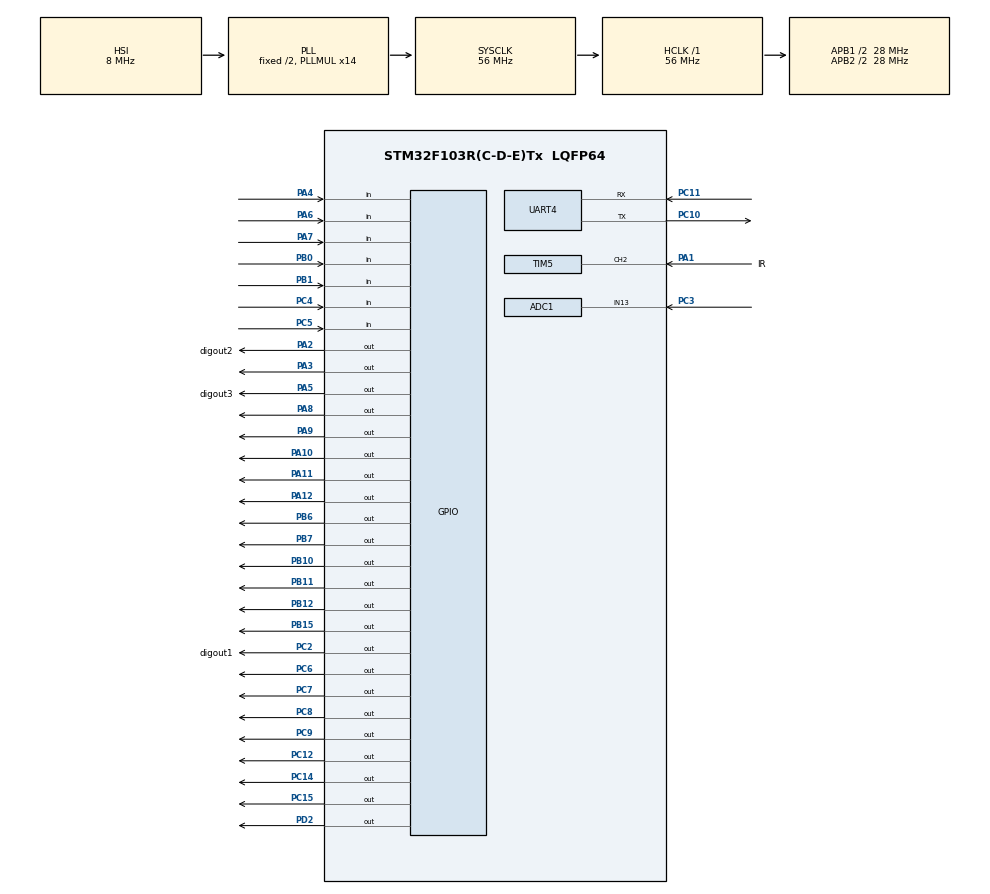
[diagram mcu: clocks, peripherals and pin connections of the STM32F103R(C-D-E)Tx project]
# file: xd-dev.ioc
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ADC1.Channel-6\#ChannelRegularConversion=ADC_CHANNEL_13
ADC1.NbrOfConversion=1
ADC1.NbrOfConversionFlag=1
ADC1.Rank-6\#ChannelRegularConversion=1
ADC1.SamplingTime-6\#ChannelRegularConversion=ADC_SAMPLETIME_1CYCLE_5
ADC1.master=1
FREERTOS.Tasks01=defaultTask,24,128,StartDefaultTask,Default,NULL,Dynamic,NULL,NULL;myTask_Key_Scan,8,128,StartTask02,Default,NULL,Dynamic,NULL,NULL;myTask03,8,128,StartTask03,Default,NULL,Dynamic,NULL,NULL
FREERTOS.Timers01=myTimer01,Callback01,osTimerOnce,Default,NULL,Dynamic,NULL;myTimer02,Callback02,osTimerPeriodic,Default,NULL,Dynamic,NULL
IWDG.Prescaler=IWDG_PRESCALER_256
Mcu.Family=STM32F1
Mcu.Name=STM32F103R(C-D-E)Tx
Mcu.Package=LQFP64
NVIC.ADC1_2_IRQn=true\:7\:0\:true\:false\:true\:true\:true\:true
NVIC.PriorityGroup=NVIC_PRIORITYGROUP_4
NVIC.TIM3_IRQn=true\:6\:0\:true\:false\:true\:true\:true\:true
NVIC.TIM5_IRQn=true\:5\:0\:true\:true\:true\:1\:true\:true\:true
NVIC.TIM7_IRQn=true\:0\:0\:false\:false\:true\:false\:false\:true
NVIC.TimeBase=TIM7_IRQn
NVIC.TimeBaseIP=TIM7
PA1.GPIO_Label=IR
PA1.GPIO_PuPd=GPIO_PULLUP
PA1.Signal=S_TIM5_CH2
PA10.Signal=GPIO_Output
PA11.Signal=GPIO_Output
PA12.Signal=GPIO_Output
PA13.Mode=JTAG_5_pins
PA13.Signal=SYS_JTMS-SWDIO
PA14.Mode=JTAG_5_pins
PA14.Signal=SYS_JTCK-SWCLK
PA15.Mode=JTAG_5_pins
PA15.Signal=SYS_JTDI
PA2.GPIO_Label=digout2
PA2.Signal=GPIO_Output
PA3.Signal=GPIO_Output
PA4.Signal=GPIO_Input
PA5.GPIO_Label=digout3
PA5.GPIO_ModeDefaultOutputPP=GPIO_MODE_OUTPUT_PP
PA5.GPIO_PuPd=GPIO_NOPULL
PA5.PinState=GPIO_PIN_RESET
PA5.Signal=GPIO_Output
PA6.Signal=GPIO_Input
PA7.Signal=GPIO_Input
PA8.Signal=GPIO_Output
PA9.Signal=GPIO_Output
PB0.GPIO_PuPd=GPIO_PULLDOWN
PB0.Signal=GPIO_Input
PB1.GPIO_PuPd=GPIO_PULLUP
PB1.Signal=GPIO_Input
PB10.GPIO_PuPd=GPIO_PULLUP
PB10.Signal=GPIO_Output
PB11.GPIO_PuPd=GPIO_PULLUP
PB11.Signal=GPIO_Output
PB12.GPIO_PuPd=GPIO_PULLUP
PB12.Signal=GPIO_Output
PB15.Signal=GPIO_Output
PB3.Mode=JTAG_5_pins
PB3.Signal=SYS_JTDO-TRACESWO
PB4.Mode=JTAG_5_pins
PB4.Signal=SYS_NJTRST
PB6.Signal=GPIO_Output
PB7.Signal=GPIO_Output
PC10.Mode=Asynchronous
PC10.Signal=UART4_TX
PC11.Mode=Asynchronous
PC11.Signal=UART4_RX
PC12.GPIO_PuPd=GPIO_PULLUP
PC12.PinState=GPIO_PIN_SET
PC12.Signal=GPIO_Output
PC14-OSC32_IN.GPIO_PuPd=GPIO_PULLDOWN
PC14-OSC32_IN.Signal=GPIO_Output
PC15-OSC32_OUT.GPIO_PuPd=GPIO_PULLDOWN
PC15-OSC32_OUT.Signal=GPIO_Output
PC2.GPIO_Label=digout1
PC2.Signal=GPIO_Output
PC3.Signal=SharedAnalog_PC3
PC4.Signal=GPIO_Input
PC5.Signal=GPIO_Input
PC6.Signal=GPIO_Output
PC7.Signal=GPIO_Output
PC8.Signal=GPIO_Output
PC9.Signal=GPIO_Output
PD0-OSC_IN.Mode=HSE-External-Clock-Source
PD0-OSC_IN.Signal=RCC_OSC_IN
PD1-OSC_OUT.Mode=HSE-External-Clock-Source
PD1-OSC_OUT.Signal=RCC_OSC_OUT
PD2.GPIO_PuPd=GPIO_PULLUP
PD2.PinState=GPIO_PIN_SET
PD2.Signal=GPIO_Output
ProjectManager.HeapSize=0x200
ProjectManager.StackSize=0x400
ProjectManager.TargetToolchain=MDK-ARM V5.27
RCC.AHBFreq_Value=56000000
RCC.APB1CLKDivider=RCC_HCLK_DIV2
RCC.APB1Freq_Value=28000000
RCC.APB1TimFreq_Value=56000000
RCC.APB2CLKDivider=RCC_HCLK_DIV2
RCC.APB2Freq_Value=28000000
RCC.APB2TimFreq_Value=56000000
RCC.HCLKFreq_Value=56000000
RCC.PLLMUL=RCC_PLL_MUL14
RCC.SYSCLKFreq_VALUE=56000000
RCC.SYSCLKSource=RCC_SYSCLKSOURCE_PLLCLK
RCC.USBFreq_Value=56000000
SH.S_TIM5_CH2.0=TIM5_CH2,Input_Capture2_from_TI2
SH.SharedAnalog_PC3.0=GPIO_Analog
SH.SharedAnalog_PC3.1=ADC1_IN13,IN13
TIM3.AutoReloadPreload=TIM_AUTORELOAD_PRELOAD_ENABLE
TIM3.CounterMode=TIM_COUNTERMODE_UP
TIM3.Period=1000
TIM3.Prescaler=56000-1
TIM5.AutoReloadPreload=TIM_AUTORELOAD_PRELOAD_ENABLE
TIM5.Channel-Input_Capture2_from_TI2=TIM_CHANNEL_2
TIM5.CounterMode=TIM_COUNTERMODE_UP
TIM5.ICFilter_CH2=4
TIM5.ICPolarity_CH2=TIM_INPUTCHANNELPOLARITY_RISING
TIM5.Period=0xffff
TIM5.Prescaler=112-1
UART4.VirtualMode=Asynchronous
VP_FREERTOS_VS_CMSIS_V2.Mode=CMSIS_V2
VP_IWDG_VS_IWDG.Mode=IWDG_Activate
VP_SYS_VS_tim7.Mode=TIM7
VP_TIM3_VS_ClockSourceINT.Mode=Internal
VP_TIM5_VS_ClockSourceINT.Mode=Internal
board=custom

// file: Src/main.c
/* USER CODE BEGIN Header */
/**
  ******************************************************************************
  * @file           : main.c
  * @brief          : Main program body
  ******************************************************************************
  * @attention
  *
  * <h2><center>&copy; Copyright (c) 2020 STMicroelectronics.
  * All rights reserved.</center></h2>
  *
  * This software component is licensed by ST under BSD 3-Clause license,
  * the "License"; You may not use this file except in compliance with the
  * License. You may obtain a copy of the License at:
  *                        opensource.org/licenses/BSD-3-Clause
  *
  ******************************************************************************
  */
/* USER CODE END Header */

#include "main.h"
#include "cmsis_os.h"

/* USER CODE BEGIN Includes */
#include "stm32f1xx_hal.h"
#include "stm32f1xx_hal_def.h"
#include "stm32f1xx_hal_gpio.h"
#include "stm32f1xx_hal_iwdg.h"
#include "xd_dig_led.h"
#include "xd_tm1650.h"
#include "xd_key.h"
#include "xd_relay.h"
#include "xd_infrared.h"
#include "xd_x9c103.h"
#include "xd_sensor.h"
#include "multi_button.h"
#include "debug_printf.h"
#include <stdio.h>

/* USER CODE END Includes */

ADC_HandleTypeDef hadc1;

IWDG_HandleTypeDef hiwdg;

TIM_HandleTypeDef htim3;
TIM_HandleTypeDef htim5;

UART_HandleTypeDef huart4;

osThreadId_t defaultTaskHandle;
osThreadId_t myTask_Key_ScanHandle;
osThreadId_t myTask03Handle;
osTimerId_t myTimer01Handle;
osTimerId_t myTimer02Handle;
/* USER CODE BEGIN PV */
userOpAttr_t g_config = {
	.o3_set_minute = 0,
	.user_timer_max = 120,
	.tm1650_status = 0,
	.x9c103_gear = 0,
	.power_key_status = 0,
};

uint32_t push_key_value = 0;
uint8_t ir_key = 0;
uint8_t ir_add = 0;
uint8_t debug_count = 0;
/* USER CODE END PV */

void SystemClock_Config(void);
static void MX_GPIO_Init(void);
static void MX_TIM5_Init(void);
static void MX_TIM3_Init(void);
static void MX_IWDG_Init(void);
static void MX_ADC1_Init(void);
static void MX_UART4_Init(void);
void StartDefaultTask(void *argument);
void StartTask02(void *argument);
void StartTask03(void *argument);
void Callback01(void *argument);
void Callback02(void *argument);

static void MX_NVIC_Init(void);

/* USER CODE BEGIN 0 */

void GConfig_Init(void)
{
	g_config.user_timer_max = 720;
	g_config.current_ck_max = CURRENT_P_VALUE;

	//风扇转
	//DEVICE_STOP;
	g_config.current_cmd = DEV_STOP;
	g_config.fan_run_status = DEV_STOP;
	g_config.o3_run_status = DEV_STOP;

	g_config.fan_stop_sec = 30;

	g_config.device_fsm_status = FSM_FAN_STOP_OVER_30S;
	g_config.o3_stop_sec = 30;

	g_config.o3_set_minute = 0;

	//auto mode
	g_config.fan_stop_minute = 0;   //首次上电直接启动
	g_config.o3_run_minute = 0;

	//非调节状态
	g_config.kq_adjust = 0xff;

}

/**
  * @brief NVIC Configuration.
  * @retval None
  */
static void Device_Init(void)
{
	//memset(&g_config, 0, sizeof(g_config));

	/* 检查是否为独立看门狗复位 */
	if (__HAL_RCC_GET_FLAG(RCC_FLAG_IWDGRST) != RESET)
	{
		/* 独立看门狗复位 */
		/*  亮红灯 */
		LED_G_YELLOW_Off();
		LED_H_YELLOW_On();

		LED_I_RED_Off();
		LED_J_RED_On();
		/* 清除标志 */
		__HAL_RCC_CLEAR_RESET_FLAGS();
		/*如果一直不喂狗，会一直复位，加上前面的延时，会看到红灯闪烁
		在1s 时间内喂狗的话，则会持续亮绿灯*/
	}
	else
	{
		/*不是独立看门狗复位(可能为上电复位或者手动按键复位之类的) */
		/* 亮蓝灯 */
		LED_A_BLUE_On();
	}

	//g_config.user_timer_max = 720;
	X9C103_Value_Clear();
	g_config.x9c103_gear = 0;
	X9C103_Gear_Display(g_config.x9c103_gear);

	IR_InfraInit();  //启动TIM4
	I2C_Initializes();
    	XD_Key_init();

	//HAL_TIM_Base_Start_IT(&htim1); //使用定时器的时候调用这个函数启动
	//HAL_TIM_Base_Stop_IT(&htim1);  //停止定时器的时候调用这个函数关闭
	HAL_TIM_Base_Start_IT(&htim3); //使用定时器的时候调用这个函数启动

	//HAL_Delay(200);   //这里加个延时，否则上电不显示

	//关显示
	TM1650_Close_Display();

	//档位灯全灭
	X9C103_Value_Clear();
	X9C103_Gear_Display(0);

	DEVICE_STOP;
	GConfig_Init();

  	osTimerStart(myTimer02Handle, 5);
  	__HAL_IWDG_START(&hiwdg);

}

/* USER CODE END 0 */

int main(void)
{

  /* MCU Configuration--------------------------------------------------------*/

  /* Reset of all peripherals, Initializes the Flash interface and the Systick. */
  HAL_Init();

  /* Configure the system clock */
  SystemClock_Config();

  /* Initialize all configured peripherals */
  MX_GPIO_Init();
  MX_TIM5_Init();
  MX_TIM3_Init();
  MX_IWDG_Init();
  MX_ADC1_Init();
  MX_UART4_Init();

  /* Initialize interrupts */
  MX_NVIC_Init();
  /* USER CODE BEGIN 2 */
  	Device_Init();
	//DEBUG_Printf("hello world\n");
	//printf("hello world\n");
	//UART_Open(UART, 115200);
	//TM1650_Open_Display();
  /* USER CODE END 2 */

  osKernelInitialize();

  /* Create the timer(s) */
  /* definition and creation of myTimer01 */
  const osTimerAttr_t myTimer01_attributes = {
    .name = "myTimer01"
  };
  myTimer01Handle = osTimerNew(Callback01, osTimerOnce, NULL, &myTimer01_attributes);

  /* definition and creation of myTimer02 */
  const osTimerAttr_t myTimer02_attributes = {
    .name = "myTimer02"
  };
  myTimer02Handle = osTimerNew(Callback02, osTimerPeriodic, NULL, &myTimer02_attributes);

  /* USER CODE BEGIN RTOS_TIMERS */
    	Device_Init();

  /* USER CODE END RTOS_TIMERS */

  /* Create the thread(s) */
  /* definition and creation of defaultTask */
  const osThreadAttr_t defaultTask_attributes = {
    .name = "defaultTask",
    .priority = (osPriority_t) osPriorityNormal,
    .stack_size = 128
  };
  defaultTaskHandle = osThreadNew(StartDefaultTask, NULL, &defaultTask_attributes);

  /* definition and creation of myTask_Key_Scan */
  const osThreadAttr_t myTask_Key_Scan_attributes = {
    .name = "myTask_Key_Scan",
    .priority = (osPriority_t) osPriorityLow,
    .stack_size = 128
  };
  myTask_Key_ScanHandle = osThreadNew(StartTask02, NULL, &myTask_Key_Scan_attributes);

  /* definition and creation of myTask03 */
  const osThreadAttr_t myTask03_attributes = {
    .name = "myTask03",
    .priority = (osPriority_t) osPriorityLow,
    .stack_size = 128
  };
  myTask03Handle = osThreadNew(StartTask03, NULL, &myTask03_attributes);

  /* Start scheduler */
  osKernelStart();

  /* We should never get here as control is now taken by the scheduler */

  /* Infinite loop */
  while (1)
  {

  }
}

void SystemClock_Config(void)
{
  RCC_OscInitTypeDef RCC_OscInitStruct = {0};
  RCC_ClkInitTypeDef RCC_ClkInitStruct = {0};
  RCC_PeriphCLKInitTypeDef PeriphClkInit = {0};

  /** Initializes the CPU, AHB and APB busses clocks
  */
  RCC_OscInitStruct.OscillatorType = RCC_OSCILLATORTYPE_HSI|RCC_OSCILLATORTYPE_LSI;
  RCC_OscInitStruct.HSIState = RCC_HSI_ON;
  RCC_OscInitStruct.HSICalibrationValue = RCC_HSICALIBRATION_DEFAULT;
  RCC_OscInitStruct.LSIState = RCC_LSI_ON;
  RCC_OscInitStruct.PLL.PLLState = RCC_PLL_ON;
  RCC_OscInitStruct.PLL.PLLSource = RCC_PLLSOURCE_HSI_DIV2;
  RCC_OscInitStruct.PLL.PLLMUL = RCC_PLL_MUL14;
  if (HAL_RCC_OscConfig(&RCC_OscInitStruct) != HAL_OK)
  {
    Error_Handler();
  }
  /** Initializes the CPU, AHB and APB busses clocks
  */
  RCC_ClkInitStruct.ClockType = RCC_CLOCKTYPE_HCLK|RCC_CLOCKTYPE_SYSCLK
                              |RCC_CLOCKTYPE_PCLK1|RCC_CLOCKTYPE_PCLK2;
  RCC_ClkInitStruct.SYSCLKSource = RCC_SYSCLKSOURCE_PLLCLK;
  RCC_ClkInitStruct.AHBCLKDivider = RCC_SYSCLK_DIV1;
  RCC_ClkInitStruct.APB1CLKDivider = RCC_HCLK_DIV2;
  RCC_ClkInitStruct.APB2CLKDivider = RCC_HCLK_DIV2;

  if (HAL_RCC_ClockConfig(&RCC_ClkInitStruct, FLASH_LATENCY_2) != HAL_OK)
  {
    Error_Handler();
  }
  PeriphClkInit.PeriphClockSelection = RCC_PERIPHCLK_ADC;
  PeriphClkInit.AdcClockSelection = RCC_ADCPCLK2_DIV2;
  if (HAL_RCCEx_PeriphCLKConfig(&PeriphClkInit) != HAL_OK)
  {
    Error_Handler();
  }
}

/**
  * @brief NVIC Configuration.
  * @retval None
  */
static void MX_NVIC_Init(void)
{
  /* TIM5_IRQn interrupt configuration */
  HAL_NVIC_SetPriority(TIM5_IRQn, 5, 0);
  HAL_NVIC_EnableIRQ(TIM5_IRQn);
}

static void MX_ADC1_Init(void)
{

  ADC_ChannelConfTypeDef sConfig = {0};

  /** Common config
  */
  hadc1.Instance = ADC1;
  hadc1.Init.ScanConvMode = ADC_SCAN_DISABLE;
  hadc1.Init.ContinuousConvMode = DISABLE;
  hadc1.Init.DiscontinuousConvMode = DISABLE;
  hadc1.Init.ExternalTrigConv = ADC_SOFTWARE_START;
  hadc1.Init.DataAlign = ADC_DATAALIGN_RIGHT;
  hadc1.Init.NbrOfConversion = 1;
  if (HAL_ADC_Init(&hadc1) != HAL_OK)
  {
    Error_Handler();
  }
  /** Configure Regular Channel
  */
  sConfig.Channel = ADC_CHANNEL_13;
  sConfig.Rank = ADC_REGULAR_RANK_1;
  sConfig.SamplingTime = ADC_SAMPLETIME_1CYCLE_5;
  if (HAL_ADC_ConfigChannel(&hadc1, &sConfig) != HAL_OK)
  {
    Error_Handler();
  }

}

static void MX_IWDG_Init(void)
{

  hiwdg.Instance = IWDG;
  hiwdg.Init.Prescaler = IWDG_PRESCALER_256;
  hiwdg.Init.Reload = 4095;
  if (HAL_IWDG_Init(&hiwdg) != HAL_OK)
  {
    Error_Handler();
  }

}

static void MX_TIM3_Init(void)
{

  TIM_ClockConfigTypeDef sClockSourceConfig = {0};
  TIM_MasterConfigTypeDef sMasterConfig = {0};

  htim3.Instance = TIM3;
  htim3.Init.Prescaler = 56000-1;
  htim3.Init.CounterMode = TIM_COUNTERMODE_UP;
  htim3.Init.Period = 1000;
  htim3.Init.ClockDivision = TIM_CLOCKDIVISION_DIV1;
  htim3.Init.AutoReloadPreload = TIM_AUTORELOAD_PRELOAD_ENABLE;
  if (HAL_TIM_Base_Init(&htim3) != HAL_OK)
  {
    Error_Handler();
  }
  sClockSourceConfig.ClockSource = TIM_CLOCKSOURCE_INTERNAL;
  if (HAL_TIM_ConfigClockSource(&htim3, &sClockSourceConfig) != HAL_OK)
  {
    Error_Handler();
  }
  sMasterConfig.MasterOutputTrigger = TIM_TRGO_RESET;
  sMasterConfig.MasterSlaveMode = TIM_MASTERSLAVEMODE_DISABLE;
  if (HAL_TIMEx_MasterConfigSynchronization(&htim3, &sMasterConfig) != HAL_OK)
  {
    Error_Handler();
  }

}

static void MX_TIM5_Init(void)
{

  TIM_ClockConfigTypeDef sClockSourceConfig = {0};
  TIM_MasterConfigTypeDef sMasterConfig = {0};
  TIM_IC_InitTypeDef sConfigIC = {0};

  htim5.Instance = TIM5;
  htim5.Init.Prescaler = 112-1;
  htim5.Init.CounterMode = TIM_COUNTERMODE_UP;
  htim5.Init.Period = 0xffff;
  htim5.Init.ClockDivision = TIM_CLOCKDIVISION_DIV1;
  htim5.Init.AutoReloadPreload = TIM_AUTORELOAD_PRELOAD_ENABLE;
  if (HAL_TIM_Base_Init(&htim5) != HAL_OK)
  {
    Error_Handler();
  }
  sClockSourceConfig.ClockSource = TIM_CLOCKSOURCE_INTERNAL;
  if (HAL_TIM_ConfigClockSource(&htim5, &sClockSourceConfig) != HAL_OK)
  {
    Error_Handler();
  }
  if (HAL_TIM_IC_Init(&htim5) != HAL_OK)
  {
    Error_Handler();
  }
  sMasterConfig.MasterOutputTrigger = TIM_TRGO_RESET;
  sMasterConfig.MasterSlaveMode = TIM_MASTERSLAVEMODE_DISABLE;
  if (HAL_TIMEx_MasterConfigSynchronization(&htim5, &sMasterConfig) != HAL_OK)
  {
    Error_Handler();
  }
  sConfigIC.ICPolarity = TIM_INPUTCHANNELPOLARITY_RISING;
  sConfigIC.ICSelection = TIM_ICSELECTION_DIRECTTI;
  sConfigIC.ICPrescaler = TIM_ICPSC_DIV1;
  sConfigIC.ICFilter = 4;
  if (HAL_TIM_IC_ConfigChannel(&htim5, &sConfigIC, TIM_CHANNEL_2) != HAL_OK)
  {
    Error_Handler();
  }

}

static void MX_UART4_Init(void)
{

  huart4.Instance = UART4;
  huart4.Init.BaudRate = 115200;
  huart4.Init.WordLength = UART_WORDLENGTH_8B;
  huart4.Init.StopBits = UART_STOPBITS_1;
  huart4.Init.Parity = UART_PARITY_NONE;
  huart4.Init.Mode = UART_MODE_TX_RX;
  huart4.Init.HwFlowCtl = UART_HWCONTROL_NONE;
  huart4.Init.OverSampling = UART_OVERSAMPLING_16;
  if (HAL_UART_Init(&huart4) != HAL_OK)
  {
    Error_Handler();
  }

}

static void MX_GPIO_Init(void)
{
  GPIO_InitTypeDef GPIO_InitStruct = {0};

  /* GPIO Ports Clock Enable */
  __HAL_RCC_GPIOC_CLK_ENABLE();
  __HAL_RCC_GPIOD_CLK_ENABLE();
  __HAL_RCC_GPIOA_CLK_ENABLE();
  __HAL_RCC_GPIOB_CLK_ENABLE();

  /*Configure GPIO pin Output Level */
  HAL_GPIO_WritePin(GPIOC, GPIO_PIN_14|GPIO_PIN_15|digout1_Pin|GPIO_PIN_6
                          |GPIO_PIN_7|GPIO_PIN_8|GPIO_PIN_9, GPIO_PIN_RESET);

  /*Configure GPIO pin Output Level */
  HAL_GPIO_WritePin(GPIOA, digout2_Pin|GPIO_PIN_3|digout3_Pin|GPIO_PIN_8
                          |GPIO_PIN_9|GPIO_PIN_10|GPIO_PIN_11|GPIO_PIN_12, GPIO_PIN_RESET);

  /*Configure GPIO pin Output Level */
  HAL_GPIO_WritePin(GPIOB, GPIO_PIN_10|GPIO_PIN_11|GPIO_PIN_12|GPIO_PIN_15
                          |GPIO_PIN_6|GPIO_PIN_7, GPIO_PIN_RESET);

  /*Configure GPIO pin Output Level */
  HAL_GPIO_WritePin(GPIOC, GPIO_PIN_12, GPIO_PIN_SET);

  /*Configure GPIO pin Output Level */
  HAL_GPIO_WritePin(GPIOD, GPIO_PIN_2, GPIO_PIN_SET);

  /*Configure GPIO pins : PC14 PC15 */
  GPIO_InitStruct.Pin = GPIO_PIN_14|GPIO_PIN_15;
  GPIO_InitStruct.Mode = GPIO_MODE_OUTPUT_PP;
  GPIO_InitStruct.Pull = GPIO_PULLDOWN;
  GPIO_InitStruct.Speed = GPIO_SPEED_FREQ_LOW;
  HAL_GPIO_Init(GPIOC, &GPIO_InitStruct);

  /*Configure GPIO pins : digout1_Pin PC6 PC7 PC8
                           PC9 */
  GPIO_InitStruct.Pin = digout1_Pin|GPIO_PIN_6|GPIO_PIN_7|GPIO_PIN_8
                          |GPIO_PIN_9;
  GPIO_InitStruct.Mode = GPIO_MODE_OUTPUT_PP;
  GPIO_InitStruct.Pull = GPIO_NOPULL;
  GPIO_InitStruct.Speed = GPIO_SPEED_FREQ_LOW;
  HAL_GPIO_Init(GPIOC, &GPIO_InitStruct);

  /*Configure GPIO pin : PC3 */
  GPIO_InitStruct.Pin = GPIO_PIN_3;
  GPIO_InitStruct.Mode = GPIO_MODE_ANALOG;
  HAL_GPIO_Init(GPIOC, &GPIO_InitStruct);

  /*Configure GPIO pins : digout2_Pin PA3 digout3_Pin PA8
                           PA9 PA10 PA11 PA12 */
  GPIO_InitStruct.Pin = digout2_Pin|GPIO_PIN_3|digout3_Pin|GPIO_PIN_8
                          |GPIO_PIN_9|GPIO_PIN_10|GPIO_PIN_11|GPIO_PIN_12;
  GPIO_InitStruct.Mode = GPIO_MODE_OUTPUT_PP;
  GPIO_InitStruct.Pull = GPIO_NOPULL;
  GPIO_InitStruct.Speed = GPIO_SPEED_FREQ_LOW;
  HAL_GPIO_Init(GPIOA, &GPIO_InitStruct);

  /*Configure GPIO pins : PA4 PA6 PA7 */
  GPIO_InitStruct.Pin = GPIO_PIN_4|GPIO_PIN_6|GPIO_PIN_7;
  GPIO_InitStruct.Mode = GPIO_MODE_INPUT;
  GPIO_InitStruct.Pull = GPIO_NOPULL;
  HAL_GPIO_Init(GPIOA, &GPIO_InitStruct);

  /*Configure GPIO pins : PC4 PC5 */
  GPIO_InitStruct.Pin = GPIO_PIN_4|GPIO_PIN_5;
  GPIO_InitStruct.Mode = GPIO_MODE_INPUT;
  GPIO_InitStruct.Pull = GPIO_NOPULL;
  HAL_GPIO_Init(GPIOC, &GPIO_InitStruct);

  /*Configure GPIO pin : PB0 */
  GPIO_InitStruct.Pin = GPIO_PIN_0;
  GPIO_InitStruct.Mode = GPIO_MODE_INPUT;
  GPIO_InitStruct.Pull = GPIO_PULLDOWN;
  HAL_GPIO_Init(GPIOB, &GPIO_InitStruct);

  /*Configure GPIO pin : PB1 */
  GPIO_InitStruct.Pin = GPIO_PIN_1;
  GPIO_InitStruct.Mode = GPIO_MODE_INPUT;
  GPIO_InitStruct.Pull = GPIO_PULLUP;
  HAL_GPIO_Init(GPIOB, &GPIO_InitStruct);

  /*Configure GPIO pins : PB10 PB11 PB12 */
  GPIO_InitStruct.Pin = GPIO_PIN_10|GPIO_PIN_11|GPIO_PIN_12;
  GPIO_InitStruct.Mode = GPIO_MODE_OUTPUT_PP;
  GPIO_InitStruct.Pull = GPIO_PULLUP;
  GPIO_InitStruct.Speed = GPIO_SPEED_FREQ_LOW;
  HAL_GPIO_Init(GPIOB, &GPIO_InitStruct);

  /*Configure GPIO pins : PB15 PB6 PB7 */
  GPIO_InitStruct.Pin = GPIO_PIN_15|GPIO_PIN_6|GPIO_PIN_7;
  GPIO_InitStruct.Mode = GPIO_MODE_OUTPUT_PP;
  GPIO_InitStruct.Pull = GPIO_NOPULL;
  GPIO_InitStruct.Speed = GPIO_SPEED_FREQ_LOW;
  HAL_GPIO_Init(GPIOB, &GPIO_InitStruct);

  /*Configure GPIO pin : PC12 */
  GPIO_InitStruct.Pin = GPIO_PIN_12;
  GPIO_InitStruct.Mode = GPIO_MODE_OUTPUT_PP;
  GPIO_InitStruct.Pull = GPIO_PULLUP;
  GPIO_InitStruct.Speed = GPIO_SPEED_FREQ_LOW;
  HAL_GPIO_Init(GPIOC, &GPIO_InitStruct);

  /*Configure GPIO pin : PD2 */
  GPIO_InitStruct.Pin = GPIO_PIN_2;
  GPIO_InitStruct.Mode = GPIO_MODE_OUTPUT_PP;
  GPIO_InitStruct.Pull = GPIO_PULLUP;
  GPIO_InitStruct.Speed = GPIO_SPEED_FREQ_LOW;
  HAL_GPIO_Init(GPIOD, &GPIO_InitStruct);

}

void StartDefaultTask(void *argument)
{
  /* USER CODE BEGIN 5 */

  /* Infinite loop */
	for(;;)
	{
		HAL_IWDG_Refresh(&hiwdg);

		//关键状态下不动作
		/*
		if(g_config.power_key_status == DISABLE){
			osDelay(1000);
			continue;
		}
		*/

		//出现故障
		if (g_config.current_cmd == DEV_FAULT){
			g_config.device_fsm_status = FSM_FAULT_STATUS;
		}

		/////
		switch (g_config.device_fsm_status) {
		case FSM_FAN_RUN:
			//如果风扇停止则运行起来
			if (g_config.fan_run_status != DEV_RUN){
				RELAY_FAN_RUN();
				g_config.fan_run_sec = 1;  //
				g_config.fan_stop_minute = 0;
			}

			//30 s， 中间状态
			g_config.fan_run_sec++;
			if (g_config.fan_run_sec >= 30){
				g_config.device_fsm_status = FSM_FAN_RUN_OVER_30S;
			}

			break;
		case FSM_FAN_RUN_OVER_30S:
			//启动臭氧
			if (g_config.current_cmd == DEV_RUN && g_config.o3_set_minute > 0  && g_config.dev_run_mode == RUN_MOD_MANAUL){
				g_config.device_fsm_status = FSM_O3_RUN;
			}

			if (g_config.current_cmd == DEV_RUN && g_config.dev_run_mode == RUN_MOD_AUTO){
				g_config.device_fsm_status = FSM_O3_RUN;
			}

			//停止臭氧
			if (g_config.current_cmd == DEV_STOP){
				g_config.device_fsm_status = FSM_O3_STOP;
			}

			break;

		case FSM_O3_RUN:
			//启动臭氧
			if (g_config.o3_run_status != DEV_RUN){
				RELAY_O3_RUN();
				g_config.o3_run_minute = 0;
				g_config.o3_run_sec = 0;
			}

			//30 s,  switch
			g_config.o3_run_sec++;
			if (g_config.o3_run_sec >= 10){
				g_config.device_fsm_status = FSM_O3_RUN_OVER_30S;
			}

			break;
		case FSM_O3_RUN_OVER_30S:

			//运行检测
			if ( g_config.o3_run_sec < 36000){
				g_config.o3_run_sec++;
			}

			//停止臭氧
			if (g_config.current_cmd == DEV_STOP){
				g_config.device_fsm_status = FSM_O3_STOP;
			}

			//切换到故障状态
			else if (g_config.current_cmd == DEV_FAULT){
				g_config.device_fsm_status = FSM_FAULT_STATUS;
			}

			break;
		case FSM_O3_STOP:
			//如果风扇停止则运行起来
			if (g_config.o3_run_status != DEV_STOP){
				RELAY_O3_STOP();
				g_config.o3_stop_sec = 1;
				g_config.o3_run_minute = 0;
				g_config.o3_run_sec = 0;
			}

			//30s arrive,  switch
			g_config.o3_stop_sec++;
			if (g_config.o3_stop_sec >= 10){
				g_config.device_fsm_status = FSM_O3_STOP_OVER_30S;
			}

			break;
		case FSM_O3_STOP_OVER_30S:
			//停止o3, 这个状态很快
			if (g_config.o3_run_status != DEV_STOP){
				RELAY_O3_STOP();
				g_config.o3_stop_sec = 1;
				g_config.o3_run_minute = 0;
				g_config.o3_run_sec = 0;
			}

			//停止风扇
			if (g_config.current_cmd == DEV_STOP){
				g_config.device_fsm_status = FSM_FAN_STOP;
			}

		case FSM_FAN_STOP:
			// 这个是个保护状态
			if (g_config.fan_run_status != DEV_STOP){
				RELAY_FAN_STOP();
				g_config.fan_stop_sec = 0;
				g_config.fan_stop_minute = 0;
			}

			//30s arrive,  switch
			g_config.fan_stop_sec++;
			if (g_config.fan_stop_sec >= 10){
				g_config.device_fsm_status = FSM_FAN_STOP_OVER_30S;
			}

			break;

		case FSM_FAN_STOP_OVER_30S:
			if (g_config.fan_run_status != DEV_STOP){
				RELAY_FAN_STOP();
				g_config.fan_stop_sec = 0;
				g_config.fan_stop_minute = 0;
			}

			//默认该状态
			if (g_config.current_cmd == DEV_RUN){
				g_config.device_fsm_status = FSM_FAN_RUN;
			}

			//30 s ; fan o3
			if ( g_config.fan_stop_sec < 36000){
				g_config.fan_stop_sec++;
			}
			if ( g_config.o3_stop_sec < 36000){
				g_config.o3_stop_sec++;
			}

			break;

		case FSM_FAULT_STATUS:
			RELAY_O3_STOP();
			g_config.o3_stop_sec = 1;
			g_config.o3_run_minute = 0;
			g_config.o3_run_sec = 0;

			RELAY_FAN_STOP();
			g_config.fan_stop_sec = 0;
			g_config.fan_stop_minute = 0;
			break;
		default:
			g_config.device_fsm_status = FSM_FAN_STOP_OVER_30S;
			break;
		}

		osDelay(1000);

	}
  /* USER CODE END 5 */
}

void StartTask02(void *argument)
{
  /* USER CODE BEGIN StartTask02 */
	int i = 0;

  /* Infinite loop */
	for(;;)
	{

		//空气传感器
		g_config.kq_sensor_a = READ_KQ_SENSOR_A();
		g_config.kq_sensor_b = READ_KQ_SENSOR_B();

		if (g_config.kq_sensor_a  == 0 && g_config.kq_sensor_b == 0){
			g_config.kq_quality = 1;
		}
		else if (g_config.kq_sensor_a  == 0 && g_config.kq_sensor_b == 1){
			g_config.kq_quality = 2;
		}
		else if (g_config.kq_sensor_a  == 1 && g_config.kq_sensor_b == 0){
			g_config.kq_quality = 3;
		}
		else if (g_config.kq_sensor_a  == 1 && g_config.kq_sensor_b == 1){
			g_config.kq_quality = 4;
		}

		//电流传感器
		g_config.cur_adc_value = ADC_ReadData();
		g_config.cur_sw_value = (((float)g_config.cur_adc_value) / 4096) * 3.3;

		// 采样到数组
		for (i = SAMPLE_NUM -1; i > 0; i--){
			g_config.a_cur_value[i] = g_config.a_cur_value[i - 1];
		}
		g_config.a_cur_value[0] = g_config.cur_sw_value;

		//电流保护
		if(g_config.a_cur_value[0] < g_config.current_ck_max && g_config.a_cur_value[1] < g_config.current_ck_max
			&& g_config.a_cur_value[2] < g_config.current_ck_max && g_config.a_cur_value[3] < g_config.current_ck_max
			&& g_config.a_cur_value[4] < g_config.current_ck_max
			&& g_config.fan_run_status == DEV_RUN && g_config.o3_run_status == DEV_RUN){
			//RELAY_O3_STOP();  //停机保护
			DEVICE_FAULT;  //停机
			g_config.dev_run_mode = RUN_MOD_FAULT;  //故障状态
			g_config.fault_code = 0x1;  //故障码
		}
		else if (g_config.o3_run_status  == DEV_RUN && g_config.fan_run_status == DEV_STOP){
			//RELAY_O3_STOP();  //停机保护
			DEVICE_FAULT;  //停机
			g_config.dev_run_mode = RUN_MOD_FAULT;  //故障状态
			g_config.fault_code = 0x2;  //故障码
		}

		switch (g_config.dev_run_mode) {
		case RUN_MOD_MANAUL:
			if (g_config.o3_set_minute == 0){
				DEVICE_STOP;  //停机
			}
			else{
				DEVICE_RUN;  //开机
			}

			break;
		case RUN_MOD_AUTO:
			///tmep code

			//增加运行次数
			if (g_config.o3_run_sec > 1800 && g_config.kq_adjust == 0xff){
				g_config.kq_adjust = DEV_STOP;  //进入调节
				g_config.kq_adjust_count = 0;
			}
			else if (g_config.o3_stop_sec > 600 && g_config.kq_adjust == 0xff){
				g_config.kq_adjust = DEV_RUN;
				g_config.kq_adjust_count = 0;
			}

			//调节次数增加
			g_config.kq_adjust_count++;
			if (g_config.kq_adjust_count > 600){
				g_config.kq_adjust = 0xff;
				g_config.kq_adjust_count = 0;
			}

			///定义开关机命令
			//连续运行保护
			if(g_config.o3_run_minute > 120){
				DEVICE_STOP;  //停机
			}
			else if (g_config.kq_adjust == DEV_RUN){
				//开机
				g_config.kq_quality = 4;
				DEVICE_RUN;  //开机
			}
			else if (g_config.kq_adjust == DEV_STOP){
				//停机
				g_config.kq_quality = 2;
				DEVICE_STOP;  //停机
			}
			//如果风扇停止则运行起来
			else if (g_config.kq_quality > 3){
				//开机
				DEVICE_RUN;  //开机
			}
			else if (g_config.kq_quality < 3){
				//停机
				DEVICE_STOP;  //停机
			}

		case RUN_MOD_FAULT:
			///tmep code

			break;
		case RUN_MOD_DEBUG:
			///tmep code

			break;
		}

		osDelay(2000);
	}
  /* USER CODE END StartTask02 */
}

void StartTask03(void *argument)
{
  /* USER CODE BEGIN StartTask03 */

	/* Infinite loop */
	for(;;)
	{

		if (g_config.tm1650_status == DISABLE){
			TM1650_Close_Display();
			osDelay(1000);
			continue;

		}
		else{
			TM1650_Open_Display();
		}

		//调试模式显示电流
		/////
		switch (g_config.dev_run_mode) {
		case RUN_MOD_MANAUL:
			TM1650_Display_Num(g_config.o3_set_minute);

			break;
		case RUN_MOD_AUTO:
			///tmep code
			//TM1650_Open_Display();
			TM1650_First_Display_Num(0xa);
			TM1650_Second_Display_Num(0);
			TM1650_Thirth_Display_Num(g_config.kq_quality);

			break;

		case RUN_MOD_FAULT:

			///tmep code
			TM1650_First_Display_Num(0xf);
 			TM1650_Second_Display_Num(0);
			TM1650_Thirth_Display_Num(g_config.fault_code);

			break;
		case RUN_MOD_DEBUG:
			///tmep code
			TM1650_First_Display_Num(0xd);
			TM1650_Display_Float_2_Num(g_config.current_ck_max);

			break;
		}

/*
		DEBUG_Printf("[g_config] dev_run_mode:%d, device_fsm_status:%d, current_cmd:%d, fan_run_status:%d, o3_run_status:%d\r\n",
			g_config.dev_run_mode, g_config.device_fsm_status, g_config.current_cmd, g_config.fan_run_status, g_config.o3_run_status);

		DEBUG_Printf("[g_config] o3_run_sec:%d, o3_stop_sec:%d, fan_run_sec:%d, fan_stop_sec:%d, o3_run_minute:%d\r\n",
			g_config.o3_run_sec, g_config.o3_stop_sec, g_config.fan_run_sec, g_config.fan_stop_sec, g_config.o3_run_minute);
*/

		osDelay(1000);

	}
  /* USER CODE END StartTask03 */
}

/* Callback01 function */
void Callback01(void *argument)
{
  /* USER CODE BEGIN Callback01 */
  	//启动延时30秒

  /* USER CODE END Callback01 */
}

/* Callback02 function */
void Callback02(void *argument)
{
  /* USER CODE BEGIN Callback02 */
	button_ticks();
  /* USER CODE END Callback02 */
}

void HAL_TIM_PeriodElapsedCallback(TIM_HandleTypeDef *htim)
{
  /* USER CODE BEGIN Callback 0 */
  //static uint8_t  flag = 0;
	//定时器频率为 f = 72M / Prescaler / Period = 72000 000 / 72 /1000 = 1000Hz；

  /* USER CODE END Callback 0 */
  if (htim->Instance == TIM7) {
    HAL_IncTick();
  }
  /* USER CODE BEGIN Callback 1 */
	else if(htim->Instance == TIM5)
	{
		IR_InfraPeriodHandle(htim);
	}
	else if(htim->Instance == TIM3)
	{
		//1秒定时器
		if (g_config.power_key_status == DISABLE){
			LED_J_Flash();
		}

		//手动情况下倒计时
		g_config.sec_count++;
		if (g_config.sec_count < 59){
			return;
		}

		g_config.sec_count = 0;

		if (g_config.o3_set_minute > 0 && g_config.dev_run_mode == RUN_MOD_MANAUL){
			g_config.o3_set_minute--;
		}

		//o3 运行分钟
		if (g_config.o3_run_minute < 6000 && g_config.o3_run_status == DEV_RUN){
			g_config.o3_run_minute++;
		}

		//o3 运行分钟
		if (g_config.fan_stop_minute < 6000 && g_config.fan_run_status == DEV_STOP){
			g_config.fan_stop_minute++;
		}
	}
  /* USER CODE END Callback 1 */
}

void Error_Handler(void)
{
}

/************************ (C) COPYRIGHT STMicroelectronics *****END OF FILE****/
